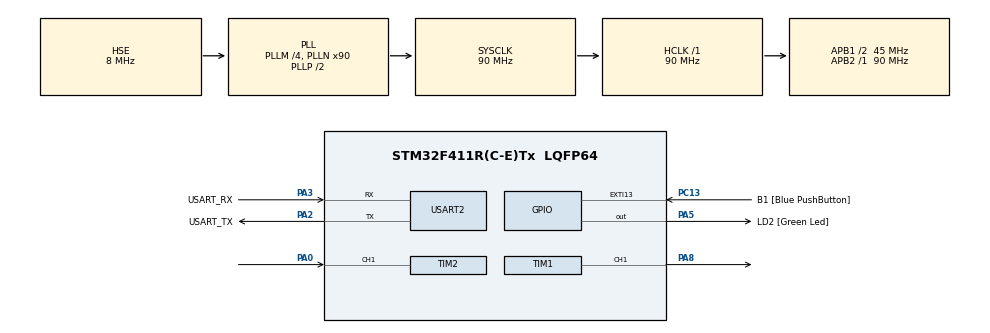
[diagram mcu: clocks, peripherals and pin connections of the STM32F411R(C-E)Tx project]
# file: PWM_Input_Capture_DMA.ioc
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Dma.Request0=TIM2_CH1
Dma.Request1=TIM2_CH2/CH4
Dma.TIM2_CH1.0.Direction=DMA_PERIPH_TO_MEMORY
Dma.TIM2_CH1.0.FIFOMode=DMA_FIFOMODE_DISABLE
Dma.TIM2_CH1.0.Instance=DMA1_Stream5
Dma.TIM2_CH1.0.MemDataAlignment=DMA_MDATAALIGN_WORD
Dma.TIM2_CH1.0.MemInc=DMA_MINC_ENABLE
Dma.TIM2_CH1.0.Mode=DMA_NORMAL
Dma.TIM2_CH1.0.PeriphDataAlignment=DMA_PDATAALIGN_WORD
Dma.TIM2_CH1.0.PeriphInc=DMA_PINC_DISABLE
Dma.TIM2_CH1.0.Priority=DMA_PRIORITY_LOW
Dma.TIM2_CH2/CH4.1.Direction=DMA_PERIPH_TO_MEMORY
Dma.TIM2_CH2/CH4.1.FIFOMode=DMA_FIFOMODE_DISABLE
Dma.TIM2_CH2/CH4.1.Instance=DMA1_Stream6
Dma.TIM2_CH2/CH4.1.MemDataAlignment=DMA_MDATAALIGN_WORD
Dma.TIM2_CH2/CH4.1.MemInc=DMA_MINC_ENABLE
Dma.TIM2_CH2/CH4.1.Mode=DMA_NORMAL
Dma.TIM2_CH2/CH4.1.PeriphDataAlignment=DMA_PDATAALIGN_WORD
Dma.TIM2_CH2/CH4.1.PeriphInc=DMA_PINC_DISABLE
Dma.TIM2_CH2/CH4.1.Priority=DMA_PRIORITY_LOW
Mcu.Family=STM32F4
Mcu.Name=STM32F411R(C-E)Tx
Mcu.Package=LQFP64
NVIC.DMA1_Stream5_IRQn=true\:0\:0\:false\:false\:true\:false\:true\:true
NVIC.DMA1_Stream6_IRQn=true\:0\:0\:false\:false\:true\:false\:true\:true
NVIC.PriorityGroup=NVIC_PRIORITYGROUP_0
NVIC.TIM2_IRQn=true\:0\:0\:false\:false\:true\:true\:true\:true
PA0-WKUP.Signal=S_TIM2_CH1_ETR
PA13.GPIO_Label=TMS
PA13.Mode=Serial_Wire
PA13.Signal=SYS_JTMS-SWDIO
PA14.GPIO_Label=TCK
PA14.Mode=Serial_Wire
PA14.Signal=SYS_JTCK-SWCLK
PA2.GPIO_Label=USART_TX
PA2.Mode=Asynchronous
PA2.Signal=USART2_TX
PA3.GPIO_Label=USART_RX
PA3.Mode=Asynchronous
PA3.Signal=USART2_RX
PA5.GPIO_Label=LD2 [Green Led]
PA5.Signal=GPIO_Output
PA8.Signal=S_TIM1_CH1
PB3.GPIO_Label=SWO
PB3.Signal=SYS_JTDO-SWO
PC13-ANTI_TAMP.GPIO_Label=B1 [Blue PushButton]
PC13-ANTI_TAMP.GPIO_ModeDefaultEXTI=GPIO_MODE_IT_FALLING
PC13-ANTI_TAMP.Signal=GPXTI13
PC14-OSC32_IN.Signal=RCC_OSC32_IN
PC15-OSC32_OUT.Signal=RCC_OSC32_OUT
PH0\ -\ OSC_IN.Mode=HSE-External-Oscillator
PH0\ -\ OSC_IN.Signal=RCC_OSC_IN
PH1\ -\ OSC_OUT.Mode=HSE-External-Oscillator
PH1\ -\ OSC_OUT.Signal=RCC_OSC_OUT
ProjectManager.HeapSize=0x200
ProjectManager.StackSize=0x400
ProjectManager.TargetToolchain=STM32CubeIDE
RCC.48MHZClocksFreq_Value=45000000
RCC.AHBFreq_Value=90000000
RCC.APB1CLKDivider=RCC_HCLK_DIV2
RCC.APB1Freq_Value=45000000
RCC.APB1TimFreq_Value=90000000
RCC.APB2Freq_Value=90000000
RCC.APB2TimFreq_Value=90000000
RCC.CortexFreq_Value=90000000
RCC.FLatency-AdvancedSettings=FLASH_LATENCY_2
RCC.HCLKFreq_Value=90000000
RCC.HSE_VALUE=8000000
RCC.HSI_VALUE=16000000
RCC.PLLM=4
RCC.PLLN=90
RCC.PLLSourceVirtual=RCC_PLLSOURCE_HSE
RCC.SYSCLKFreq_VALUE=90000000
RCC.SYSCLKSource=RCC_SYSCLKSOURCE_PLLCLK
RCC.VCOOutputFreq_Value=180000000
SH.S_TIM1_CH1.0=TIM1_CH1,PWM Generation1 CH1
SH.S_TIM2_CH1_ETR.0=TIM2_CH1,Input_Capture1_from_TI1
TIM1.Channel-PWM\ Generation1\ CH1=TIM_CHANNEL_1
TIM1.Period=10-1
TIM1.Prescaler=9-1
TIM2.Channel-Input_Capture1_from_TI1=TIM_CHANNEL_1
TIM2.Channel-Input_Capture2_from_TI1_63=TIM_CHANNEL_2
TIM2.ICPolarity_CH2=TIM_INPUTCHANNELPOLARITY_FALLING
USART2.VirtualMode=VM_ASYNC
VP_TIM1_VS_ClockSourceINT.Mode=Internal
VP_TIM2_VS_ClockSourceINT.Mode=Internal
VP_TIM2_VS_indirect_ch1.Mode=Input_Capture2_from_TI1_63
board=NUCLEO-F411RE

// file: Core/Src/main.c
/* USER CODE BEGIN Header */
/**
  ******************************************************************************
  * @file           : main.c
  * @brief          : Main program body
  ******************************************************************************
  * @attention
  *
  * Copyright (c) 2024 STMicroelectronics.
  * All rights reserved.
  *
  * This software is licensed under terms that can be found in the LICENSE file
  * in the root directory of this software component.
  * If no LICENSE file comes with this software, it is provided AS-IS.
  *
  ******************************************************************************
  */
/* USER CODE END Header */
#include "main.h"

TIM_HandleTypeDef htim1;
TIM_HandleTypeDef htim2;
DMA_HandleTypeDef hdma_tim2_ch1;
DMA_HandleTypeDef hdma_tim2_ch2_ch4;

UART_HandleTypeDef huart2;

void SystemClock_Config(void);
static void MX_GPIO_Init(void);
static void MX_DMA_Init(void);
static void MX_USART2_UART_Init(void);
static void MX_TIM1_Init(void);
static void MX_TIM2_Init(void);

/* USER CODE BEGIN 0 */

#define TIMCLOCK   90000000
#define PSCALAR    0

/* Define the number of samples to be taken by the DMA
   For lower Frequencies, keep the less number for samples
*/
#define numval   500

#define MIN(a,b) ((a) < (b) ? (a) : (b))

int riseCaptured = 0;
int fallCaptured = 0;

uint32_t riseData[numval];
uint32_t fallData[numval];

float frequency = 0;
float width = 0;

int isMeasured = 0;

void HAL_TIM_IC_CaptureCallback(TIM_HandleTypeDef *htim)
{
	// If the Interrupt is triggered by 1st Channel
	if (htim->Channel == HAL_TIM_ACTIVE_CHANNEL_1)
	{
		riseCaptured = 1;
	}

	// If the Interrupt is triggered by 2nd Channel
	if (htim->Channel == HAL_TIM_ACTIVE_CHANNEL_2)
	{
		fallCaptured = 1;
	}

	/* Rest of the calculations will be done,
	 * once both the DMAs have finished capturing enough data */
	if ((riseCaptured) && (fallCaptured))
	{

		// calculate the reference clock
		float refClock = TIMCLOCK/(PSCALAR+1);

		int indxr = 0;
		int indxf = 0;

		int countr = 0;
		int countrf = 0;

		float riseavg = 0;
		float rfavg = 0;

		/* In case of high Frequencies, the DMA sometimes captures 0's in the beginning.
		 * increment the index until some useful data shows up
		 */
		while (riseData[indxr] == 0) indxr++;

		/* Again at very high frequencies, sometimes the values don't change
		 * So we will wait for the update among the values
		 */
		while ((MIN((riseData[indxr+1]-riseData[indxr]), (riseData[indxr+2]-riseData[indxr+1]))) == 0) indxr++;

		/* riseavg is the difference in the 2 consecutive rise Time */

		/* Assign a start value to riseavg */
		riseavg += MIN((riseData[indxr+1]-riseData[indxr]), (riseData[indxr+2]-riseData[indxr+1]));
		indxr++;
		countr++;

		/* start adding the values to the riseavg */
		while (indxr < (numval))
		{
			riseavg += MIN((riseData[indxr+1]-riseData[indxr]), riseavg/countr);
			countr++;
			indxr++;
		}

		/* Find the average riseavg, the average time between 2 RISE */
		riseavg = riseavg/countr;

		indxr = 0;

		/* The calculation for the Falling pulse on second channel */

		/* If the fall time is lower than rise time,
		 * Then there must be some error and we will increment
		 * both, until the error is gone
		 */
		if (fallData[indxf] < riseData[indxr])
		{
			indxf+=2; indxr+=2;
			while (fallData[indxf] < riseData[indxr]) indxf++;
		}

		else if (fallData[indxf] > riseData[indxr])
		{
			indxf+=2; indxr+=2;
			while (fallData[indxf] > riseData[indxr+1]) indxr++;
		}

		/* The method used for the calculation below is as follows:
		 * If Fall time < Rise Time, increment Fall counter
		 * If Fall time - Rise Time is in between 0 and (difference between 2 Rise times), then its a success
		 * If fall time > Rise time, but is also > (difference between 2 Rise times), then increment Rise Counter
		 */
		while ((indxf < (numval)) && (indxr < (numval)))
		{
			/* If the Fall time is lower than rise time, increment the fall indx */
			while ((int16_t)(fallData[indxf]-riseData[indxr]) < 0)
			{
				indxf++;
			}

			/* If the Difference in fall time and rise time is >0 and less than rise average,
			 * Then we will register it as a success and increment the countrf (the number of successes)
			 */
			if (((int16_t)(fallData[indxf]-riseData[indxr]) >= 0) && (((int16_t)(fallData[indxf]-riseData[indxr]) <= riseavg)))
			{
				rfavg += MIN((fallData[indxf]-riseData[indxr]), (fallData[indxf+1]-riseData[indxr+1]));
				indxf++;
				indxr++;
				countrf++;
			}

			else
			{
				indxr++;
			}
		}

		/* Calculate the Average time between 2 Rise */
		rfavg = rfavg/countrf;

		/* Calculate Frequency
		 * Freq = Clock/(time taken between 2 Rise)
		 */
		frequency = (refClock/(float)riseavg);;

		/* Width of the pulse
		 *  = (Time between Rise and fall) / clock
		 */
		width = ((rfavg)/((float)(refClock/1000000)))*1000;   // width in ns

		riseCaptured = 0;
		fallCaptured = 0;

		isMeasured = 1;

	}
}

/* USER CODE END 0 */

int main(void)
{

  /* MCU Configuration--------------------------------------------------------*/

  /* Reset of all peripherals, Initializes the Flash interface and the Systick. */
  HAL_Init();

  /* Configure the system clock */
  SystemClock_Config();

  /* Initialize all configured peripherals */
  MX_GPIO_Init();
  MX_DMA_Init();
  MX_USART2_UART_Init();
  MX_TIM1_Init();
  MX_TIM2_Init();
  /* USER CODE BEGIN 2 */

  /* The PWM Output from Timer 1 */
    TIM1->CCR1 = 5;
    HAL_TIM_PWM_Start(&htim1, TIM_CHANNEL_1);

  /* TIM2 Channel 1 is set to rising edge, so it will store the data in 'riseData' */
    HAL_TIM_IC_Start_DMA(&htim2, TIM_CHANNEL_1, riseData, numval);

  /* TIM2 Channel 2 is set to falling edge, so it will store the data in 'fallData' */
    HAL_TIM_IC_Start_DMA(&htim2, TIM_CHANNEL_2, fallData, numval);

  /* USER CODE END 2 */

  /* Infinite loop */
  while (1)
  {

	  HAL_Delay (1000);

	  /* Call the measurement whenever needed */
	  	  if (isMeasured)
	  	  {
	  		  TIM2->CNT = 0;

	  		  HAL_TIM_IC_Start_DMA(&htim2, TIM_CHANNEL_1, riseData, numval);

	  		  HAL_TIM_IC_Start_DMA(&htim2, TIM_CHANNEL_2, fallData, numval);

	  		  isMeasured = 0;
	  	  }

  }
}

void SystemClock_Config(void)
{
  RCC_OscInitTypeDef RCC_OscInitStruct = {0};
  RCC_ClkInitTypeDef RCC_ClkInitStruct = {0};

  /** Configure the main internal regulator output voltage
  */
  __HAL_RCC_PWR_CLK_ENABLE();
  __HAL_PWR_VOLTAGESCALING_CONFIG(PWR_REGULATOR_VOLTAGE_SCALE1);

  /** Initializes the RCC Oscillators according to the specified parameters
  * in the RCC_OscInitTypeDef structure.
  */
  RCC_OscInitStruct.OscillatorType = RCC_OSCILLATORTYPE_HSE;
  RCC_OscInitStruct.HSEState = RCC_HSE_ON;
  RCC_OscInitStruct.PLL.PLLState = RCC_PLL_ON;
  RCC_OscInitStruct.PLL.PLLSource = RCC_PLLSOURCE_HSE;
  RCC_OscInitStruct.PLL.PLLM = 4;
  RCC_OscInitStruct.PLL.PLLN = 90;
  RCC_OscInitStruct.PLL.PLLP = RCC_PLLP_DIV2;
  RCC_OscInitStruct.PLL.PLLQ = 4;
  if (HAL_RCC_OscConfig(&RCC_OscInitStruct) != HAL_OK)
  {
    Error_Handler();
  }

  /** Initializes the CPU, AHB and APB buses clocks
  */
  RCC_ClkInitStruct.ClockType = RCC_CLOCKTYPE_HCLK|RCC_CLOCKTYPE_SYSCLK
                              |RCC_CLOCKTYPE_PCLK1|RCC_CLOCKTYPE_PCLK2;
  RCC_ClkInitStruct.SYSCLKSource = RCC_SYSCLKSOURCE_PLLCLK;
  RCC_ClkInitStruct.AHBCLKDivider = RCC_SYSCLK_DIV1;
  RCC_ClkInitStruct.APB1CLKDivider = RCC_HCLK_DIV2;
  RCC_ClkInitStruct.APB2CLKDivider = RCC_HCLK_DIV1;

  if (HAL_RCC_ClockConfig(&RCC_ClkInitStruct, FLASH_LATENCY_2) != HAL_OK)
  {
    Error_Handler();
  }
}

static void MX_TIM1_Init(void)
{

  TIM_ClockConfigTypeDef sClockSourceConfig = {0};
  TIM_MasterConfigTypeDef sMasterConfig = {0};
  TIM_OC_InitTypeDef sConfigOC = {0};
  TIM_BreakDeadTimeConfigTypeDef sBreakDeadTimeConfig = {0};

  htim1.Instance = TIM1;
  htim1.Init.Prescaler = 9-1;
  htim1.Init.CounterMode = TIM_COUNTERMODE_UP;
  htim1.Init.Period = 100-1;
  htim1.Init.ClockDivision = TIM_CLOCKDIVISION_DIV1;
  htim1.Init.RepetitionCounter = 0;
  htim1.Init.AutoReloadPreload = TIM_AUTORELOAD_PRELOAD_DISABLE;
  if (HAL_TIM_Base_Init(&htim1) != HAL_OK)
  {
    Error_Handler();
  }
  sClockSourceConfig.ClockSource = TIM_CLOCKSOURCE_INTERNAL;
  if (HAL_TIM_ConfigClockSource(&htim1, &sClockSourceConfig) != HAL_OK)
  {
    Error_Handler();
  }
  if (HAL_TIM_PWM_Init(&htim1) != HAL_OK)
  {
    Error_Handler();
  }
  sMasterConfig.MasterOutputTrigger = TIM_TRGO_RESET;
  sMasterConfig.MasterSlaveMode = TIM_MASTERSLAVEMODE_DISABLE;
  if (HAL_TIMEx_MasterConfigSynchronization(&htim1, &sMasterConfig) != HAL_OK)
  {
    Error_Handler();
  }
  sConfigOC.OCMode = TIM_OCMODE_PWM1;
  sConfigOC.Pulse = 0;
  sConfigOC.OCPolarity = TIM_OCPOLARITY_HIGH;
  sConfigOC.OCNPolarity = TIM_OCNPOLARITY_HIGH;
  sConfigOC.OCFastMode = TIM_OCFAST_DISABLE;
  sConfigOC.OCIdleState = TIM_OCIDLESTATE_RESET;
  sConfigOC.OCNIdleState = TIM_OCNIDLESTATE_RESET;
  if (HAL_TIM_PWM_ConfigChannel(&htim1, &sConfigOC, TIM_CHANNEL_1) != HAL_OK)
  {
    Error_Handler();
  }
  sBreakDeadTimeConfig.OffStateRunMode = TIM_OSSR_DISABLE;
  sBreakDeadTimeConfig.OffStateIDLEMode = TIM_OSSI_DISABLE;
  sBreakDeadTimeConfig.LockLevel = TIM_LOCKLEVEL_OFF;
  sBreakDeadTimeConfig.DeadTime = 0;
  sBreakDeadTimeConfig.BreakState = TIM_BREAK_DISABLE;
  sBreakDeadTimeConfig.BreakPolarity = TIM_BREAKPOLARITY_HIGH;
  sBreakDeadTimeConfig.AutomaticOutput = TIM_AUTOMATICOUTPUT_DISABLE;
  if (HAL_TIMEx_ConfigBreakDeadTime(&htim1, &sBreakDeadTimeConfig) != HAL_OK)
  {
    Error_Handler();
  }
  HAL_TIM_MspPostInit(&htim1);

}

static void MX_TIM2_Init(void)
{

  TIM_ClockConfigTypeDef sClockSourceConfig = {0};
  TIM_MasterConfigTypeDef sMasterConfig = {0};
  TIM_IC_InitTypeDef sConfigIC = {0};

  htim2.Instance = TIM2;
  htim2.Init.Prescaler = 0;
  htim2.Init.CounterMode = TIM_COUNTERMODE_UP;
  htim2.Init.Period = 4294967295;
  htim2.Init.ClockDivision = TIM_CLOCKDIVISION_DIV1;
  htim2.Init.AutoReloadPreload = TIM_AUTORELOAD_PRELOAD_DISABLE;
  if (HAL_TIM_Base_Init(&htim2) != HAL_OK)
  {
    Error_Handler();
  }
  sClockSourceConfig.ClockSource = TIM_CLOCKSOURCE_INTERNAL;
  if (HAL_TIM_ConfigClockSource(&htim2, &sClockSourceConfig) != HAL_OK)
  {
    Error_Handler();
  }
  if (HAL_TIM_IC_Init(&htim2) != HAL_OK)
  {
    Error_Handler();
  }
  sMasterConfig.MasterOutputTrigger = TIM_TRGO_RESET;
  sMasterConfig.MasterSlaveMode = TIM_MASTERSLAVEMODE_DISABLE;
  if (HAL_TIMEx_MasterConfigSynchronization(&htim2, &sMasterConfig) != HAL_OK)
  {
    Error_Handler();
  }
  sConfigIC.ICPolarity = TIM_INPUTCHANNELPOLARITY_RISING;
  sConfigIC.ICSelection = TIM_ICSELECTION_DIRECTTI;
  sConfigIC.ICPrescaler = TIM_ICPSC_DIV1;
  sConfigIC.ICFilter = 0;
  if (HAL_TIM_IC_ConfigChannel(&htim2, &sConfigIC, TIM_CHANNEL_1) != HAL_OK)
  {
    Error_Handler();
  }
  sConfigIC.ICPolarity = TIM_INPUTCHANNELPOLARITY_FALLING;
  sConfigIC.ICSelection = TIM_ICSELECTION_INDIRECTTI;
  if (HAL_TIM_IC_ConfigChannel(&htim2, &sConfigIC, TIM_CHANNEL_2) != HAL_OK)
  {
    Error_Handler();
  }

}

static void MX_USART2_UART_Init(void)
{

  huart2.Instance = USART2;
  huart2.Init.BaudRate = 115200;
  huart2.Init.WordLength = UART_WORDLENGTH_8B;
  huart2.Init.StopBits = UART_STOPBITS_1;
  huart2.Init.Parity = UART_PARITY_NONE;
  huart2.Init.Mode = UART_MODE_TX_RX;
  huart2.Init.HwFlowCtl = UART_HWCONTROL_NONE;
  huart2.Init.OverSampling = UART_OVERSAMPLING_16;
  if (HAL_UART_Init(&huart2) != HAL_OK)
  {
    Error_Handler();
  }

}

static void MX_DMA_Init(void)
{

  /* DMA controller clock enable */
  __HAL_RCC_DMA1_CLK_ENABLE();

  /* DMA interrupt init */
  /* DMA1_Stream5_IRQn interrupt configuration */
  HAL_NVIC_SetPriority(DMA1_Stream5_IRQn, 0, 0);
  HAL_NVIC_EnableIRQ(DMA1_Stream5_IRQn);
  /* DMA1_Stream6_IRQn interrupt configuration */
  HAL_NVIC_SetPriority(DMA1_Stream6_IRQn, 0, 0);
  HAL_NVIC_EnableIRQ(DMA1_Stream6_IRQn);

}

static void MX_GPIO_Init(void)
{
  GPIO_InitTypeDef GPIO_InitStruct = {0};

  /* GPIO Ports Clock Enable */
  __HAL_RCC_GPIOC_CLK_ENABLE();
  __HAL_RCC_GPIOH_CLK_ENABLE();
  __HAL_RCC_GPIOA_CLK_ENABLE();
  __HAL_RCC_GPIOB_CLK_ENABLE();

  /*Configure GPIO pin Output Level */
  HAL_GPIO_WritePin(LD2_GPIO_Port, LD2_Pin, GPIO_PIN_RESET);

  /*Configure GPIO pin : B1_Pin */
  GPIO_InitStruct.Pin = B1_Pin;
  GPIO_InitStruct.Mode = GPIO_MODE_IT_FALLING;
  GPIO_InitStruct.Pull = GPIO_NOPULL;
  HAL_GPIO_Init(B1_GPIO_Port, &GPIO_InitStruct);

  /*Configure GPIO pin : LD2_Pin */
  GPIO_InitStruct.Pin = LD2_Pin;
  GPIO_InitStruct.Mode = GPIO_MODE_OUTPUT_PP;
  GPIO_InitStruct.Pull = GPIO_NOPULL;
  GPIO_InitStruct.Speed = GPIO_SPEED_FREQ_LOW;
  HAL_GPIO_Init(LD2_GPIO_Port, &GPIO_InitStruct);

}

void Error_Handler(void)
{
  __disable_irq();
  while (1)
  {
  }
}
